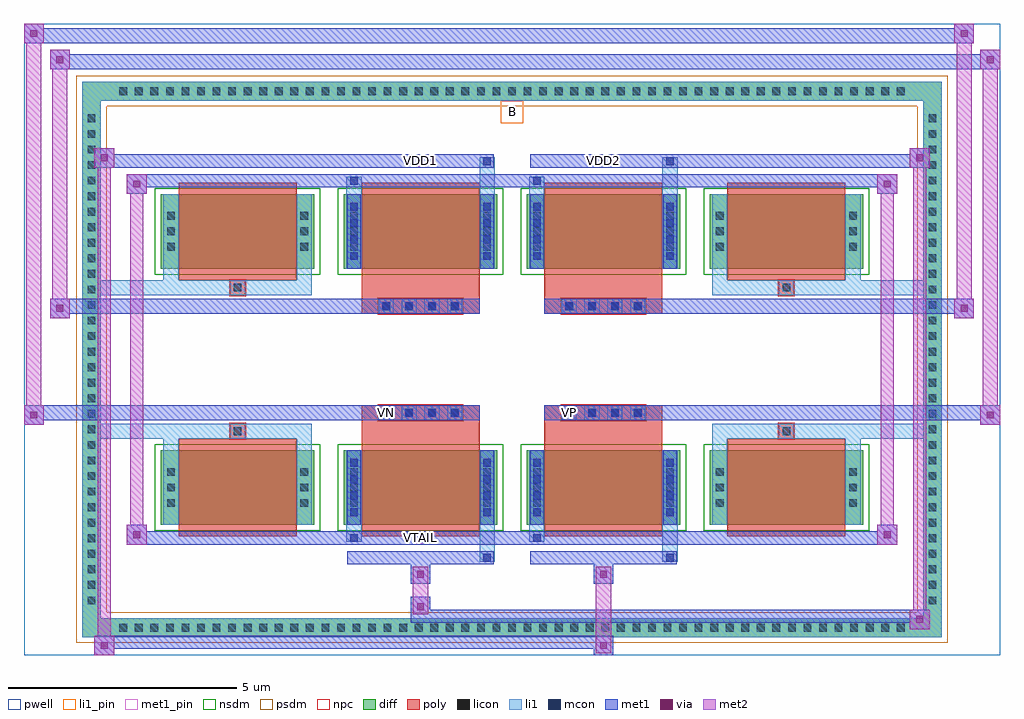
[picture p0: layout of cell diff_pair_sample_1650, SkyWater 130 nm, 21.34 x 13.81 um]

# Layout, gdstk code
import gdstk
lib = gdstk.Library(unit=1e-6, precision=5e-09)
def R(c, l, rs):  # rectangles x0, y0, x1, y1
    for r in rs: c.add(gdstk.rectangle(r[:2], r[2:], *l))
def A(c, l, x, y, w, h, nx, ny, dx, dy):  # array of equal rectangles
    R(c, l, [(x+i*dx, y+j*dy, x+i*dx+w, y+j*dy+h) for i in range(nx) for j in range(ny)])
def P(c, l, *ps):  # polygons
    for p in ps: c.add(gdstk.Polygon(p, *l))
pwell = (64, 44)
diff = (65, 20)
poly = (66, 20)
licon = (66, 44)
li1_pin = (67, 16)
li1 = (67, 20)
mcon = (67, 44)
met1_pin = (68, 16)
met1 = (68, 20)
via = (68, 44)
met2 = (69, 20)
nsdm = (93, 44)
psdm = (94, 20)
npc = (95, 20)

diff_pair_sample_1650 = lib.new_cell('diff_pair_sample_1650')
R(diff_pair_sample_1650, pwell, [(-10.67,-6.47,10.67,7.34), (-7.99,-4.66,-0.01,-0.8), (0.01,-4.66,7.99,-0.8), (-7.99,0.8,-0.01,4.66), (0.01,0.8,7.99,4.66)])
A(diff_pair_sample_1650, diff, -8.705, -6.07, 0.41, 0.41, 51, 2, 0.34, 11.73)
A(diff_pair_sample_1650, diff, -9.4, -5.475, 0.41, 0.41, 1, 32, 0, 0.34)
A(diff_pair_sample_1650, diff, 8.99, -5.475, 0.41, 0.41, 1, 32, 0, 0.34)
A(diff_pair_sample_1650, diff, -7.68, -3.615, 3.36, 1.63, 4, 2, 4, 5.6)
R(diff_pair_sample_1650, diff, [(-8.705,-6.07,8.705,-5.66), (-9.4,-5.475,-8.99,5.475), (8.99,-5.475,9.4,5.475), (-8.705,5.66,8.705,6.07)])
P(diff_pair_sample_1650, diff, [(9.4,6.07),(-9.4,6.07),(-9.4,-5.66),(-8.99,-5.66),(-8.99,5.66),(8.99,5.66),(8.99,-5.66),(-8.99,-5.66),(-9.4,-5.66),(-9.4,-6.07),(9.4,-6.07)])
A(diff_pair_sample_1650, poly, -7.29, -3.865, 2.58, 2.13, 4, 2, 4, 5.6)
A(diff_pair_sample_1650, poly, -2.915, -1.33, 0.33, 0.33, 4, 2, 0.5, 2.33)
A(diff_pair_sample_1650, poly, 1.085, -1.33, 0.33, 0.33, 4, 2, 0.5, 2.33)
R(diff_pair_sample_1650, poly, [(-6.165,-1.735,-5.835,-1.405), (-6.165,-1.735,-5.835,-1.405), (-3.29,-1.735,-0.71,-1.33), (0.71,-1.735,3.29,-1.33), (5.835,-1.735,6.165,-1.405), (5.835,-1.735,6.165,-1.405), (-3.29,-1.33,-0.71,-1), (0.71,-1.33,3.29,-1), (-3.29,1,-0.71,1.33), (0.71,1,3.29,1.33), (-3.29,1.33,-0.71,1.735), (0.71,1.33,3.29,1.735), (-6.165,1.405,-5.835,1.735), (-6.165,1.405,-5.835,1.735), (5.835,1.405,6.165,1.735), (5.835,1.405,6.165,1.735)])
A(diff_pair_sample_1650, licon, -8.585, -5.95, 0.17, 0.17, 51, 2, 0.34, 11.73)
A(diff_pair_sample_1650, licon, -9.28, -5.355, 0.17, 0.17, 1, 32, 0, 0.34)
A(diff_pair_sample_1650, licon, 9.11, -5.355, 0.17, 0.17, 1, 32, 0, 0.34)
A(diff_pair_sample_1650, licon, -7.54, -3.225, 0.17, 0.17, 1, 3, 0, 0.34)
A(diff_pair_sample_1650, licon, -4.63, -3.225, 0.17, 0.17, 1, 3, 0, 0.34)
A(diff_pair_sample_1650, licon, -3.54, -3.225, 0.17, 0.17, 1, 3, 0, 0.34)
A(diff_pair_sample_1650, licon, -0.63, -3.225, 0.17, 0.17, 1, 3, 0, 0.34)
A(diff_pair_sample_1650, licon, 0.46, -3.225, 0.17, 0.17, 1, 3, 0, 0.34)
A(diff_pair_sample_1650, licon, 3.37, -3.225, 0.17, 0.17, 1, 3, 0, 0.34)
A(diff_pair_sample_1650, licon, 4.46, -3.225, 0.17, 0.17, 1, 3, 0, 0.34)
A(diff_pair_sample_1650, licon, 7.37, -3.225, 0.17, 0.17, 1, 3, 0, 0.34)
A(diff_pair_sample_1650, licon, -2.835, -1.25, 0.17, 0.17, 4, 2, 0.5, 2.33)
A(diff_pair_sample_1650, licon, 1.165, -1.25, 0.17, 0.17, 4, 2, 0.5, 2.33)
A(diff_pair_sample_1650, licon, -7.54, 2.375, 0.17, 0.17, 1, 3, 0, 0.34)
A(diff_pair_sample_1650, licon, -4.63, 2.375, 0.17, 0.17, 1, 3, 0, 0.34)
A(diff_pair_sample_1650, licon, -3.54, 2.375, 0.17, 0.17, 1, 3, 0, 0.34)
A(diff_pair_sample_1650, licon, -0.63, 2.375, 0.17, 0.17, 1, 3, 0, 0.34)
A(diff_pair_sample_1650, licon, 0.46, 2.375, 0.17, 0.17, 1, 3, 0, 0.34)
A(diff_pair_sample_1650, licon, 3.37, 2.375, 0.17, 0.17, 1, 3, 0, 0.34)
A(diff_pair_sample_1650, licon, 4.46, 2.375, 0.17, 0.17, 1, 3, 0, 0.34)
A(diff_pair_sample_1650, licon, 7.37, 2.375, 0.17, 0.17, 1, 3, 0, 0.34)
R(diff_pair_sample_1650, licon, [(-6.085,-1.655,-5.915,-1.485), (5.915,-1.655,6.085,-1.485), (-6.085,1.485,-5.915,1.655), (5.915,1.485,6.085,1.655)])
R(diff_pair_sample_1650, li1_pin, [(-0.25,5.16,0.25,5.66)])
A(diff_pair_sample_1650, li1, -8.665, -6.03, 0.33, 0.33, 51, 2, 0.34, 11.73)
A(diff_pair_sample_1650, li1, -9.36, -5.435, 0.33, 0.33, 1, 32, 0, 0.34)
A(diff_pair_sample_1650, li1, 9.03, -5.435, 0.33, 0.33, 1, 32, 0, 0.34)
A(diff_pair_sample_1650, li1, -3.54, -3.425, 0.17, 0.17, 1, 4, 0, 0.36)
A(diff_pair_sample_1650, li1, -0.63, -3.425, 0.17, 0.17, 1, 4, 0, 0.36)
A(diff_pair_sample_1650, li1, 0.46, -3.425, 0.17, 0.17, 1, 4, 0, 0.36)
A(diff_pair_sample_1650, li1, 3.37, -3.425, 0.17, 0.17, 1, 4, 0, 0.36)
A(diff_pair_sample_1650, li1, -7.62, -3.305, 0.33, 0.33, 1, 3, 0, 0.34)
A(diff_pair_sample_1650, li1, -4.71, -3.305, 0.33, 0.33, 1, 3, 0, 0.34)
A(diff_pair_sample_1650, li1, -3.62, -3.305, 0.33, 0.33, 1, 3, 0, 0.34)
A(diff_pair_sample_1650, li1, -0.71, -3.305, 0.33, 0.33, 1, 3, 0, 0.34)
A(diff_pair_sample_1650, li1, 0.38, -3.305, 0.33, 0.33, 1, 3, 0, 0.34)
A(diff_pair_sample_1650, li1, 3.29, -3.305, 0.33, 0.33, 1, 3, 0, 0.34)
A(diff_pair_sample_1650, li1, 4.38, -3.305, 0.33, 0.33, 1, 3, 0, 0.34)
A(diff_pair_sample_1650, li1, 7.29, -3.305, 0.33, 0.33, 1, 3, 0, 0.34)
A(diff_pair_sample_1650, li1, -2.915, -1.33, 0.33, 0.33, 4, 2, 0.5, 2.33)
A(diff_pair_sample_1650, li1, 1.085, -1.33, 0.33, 0.33, 4, 2, 0.5, 2.33)
A(diff_pair_sample_1650, li1, -3.54, 2.175, 0.17, 0.17, 1, 4, 0, 0.36)
A(diff_pair_sample_1650, li1, -0.63, 2.175, 0.17, 0.17, 1, 4, 0, 0.36)
A(diff_pair_sample_1650, li1, 0.46, 2.175, 0.17, 0.17, 1, 4, 0, 0.36)
A(diff_pair_sample_1650, li1, 3.37, 2.175, 0.17, 0.17, 1, 4, 0, 0.36)
A(diff_pair_sample_1650, li1, -7.62, 2.295, 0.33, 0.33, 1, 3, 0, 0.34)
A(diff_pair_sample_1650, li1, -4.71, 2.295, 0.33, 0.33, 1, 3, 0, 0.34)
A(diff_pair_sample_1650, li1, -3.62, 2.295, 0.33, 0.33, 1, 3, 0, 0.34)
A(diff_pair_sample_1650, li1, -0.71, 2.295, 0.33, 0.33, 1, 3, 0, 0.34)
A(diff_pair_sample_1650, li1, 0.38, 2.295, 0.33, 0.33, 1, 3, 0, 0.34)
A(diff_pair_sample_1650, li1, 3.29, 2.295, 0.33, 0.33, 1, 3, 0, 0.34)
A(diff_pair_sample_1650, li1, 4.38, 2.295, 0.33, 0.33, 1, 3, 0, 0.34)
A(diff_pair_sample_1650, li1, 7.29, 2.295, 0.33, 0.33, 1, 3, 0, 0.34)
R(diff_pair_sample_1650, li1, [(-9.4,-6.07,-8.99,-5.66), (-9.4,-6.07,-8.99,-5.66), (-8.99,-6.07,8.99,-5.66), (8.99,-6.07,9.4,-5.66), (8.99,-6.07,9.4,-5.66), (-9.4,-5.66,-8.99,5.66), (8.99,-5.66,9.4,5.66), (-0.71,-4.42,-0.38,-3.615), (-0.63,-4.42,-0.46,-4.25), (3.29,-4.42,3.62,-3.615), (3.37,-4.42,3.54,-4.25), (-3.62,-3.99,-3.29,-3.615), (-3.54,-3.99,-3.37,-3.82), (0.38,-3.99,0.71,-3.615), (0.46,-3.99,0.63,-3.82), (-7.62,-3.615,-7.29,-1.985), (-4.71,-3.615,-4.38,-1.985), (-3.62,-3.615,-3.29,-1.985), (-0.71,-3.615,-0.38,-1.985), (0.38,-3.615,0.71,-1.985), (3.29,-3.615,3.62,-1.985), (4.38,-3.615,4.71,-1.985), (7.29,-3.615,7.62,-1.985), (-3.54,-3.425,-3.37,-2.175), (-0.63,-3.425,-0.46,-2.175), (0.46,-3.425,0.63,-2.175), (3.37,-3.425,3.54,-2.175), (-7.62,-1.985,-7.29,-1.405), (-4.71,-1.985,-4.38,-1.405), (4.38,-1.985,4.71,-1.405), (7.29,-1.985,7.62,-1.405), (-9.4,-1.735,-6.165,-1.405), (-7.62,-1.735,-6.165,-1.405), (-6.165,-1.735,-5.835,-1.405), (-5.835,-1.735,-4.38,-1.405), (4.38,-1.735,5.835,-1.405), (5.835,-1.735,6.165,-1.405), (5.835,-1.735,9.4,-1.405), (6.165,-1.735,7.62,-1.405), (-9.4,1.405,-6.165,1.735), (-7.62,1.405,-6.165,1.735), (-7.62,1.405,-7.29,1.985), (-6.165,1.405,-5.835,1.735), (-5.835,1.405,-4.38,1.735), (-4.71,1.405,-4.38,1.985), (4.38,1.405,5.835,1.735), (4.38,1.405,4.71,1.985), (5.835,1.405,6.165,1.735), (5.835,1.405,9.4,1.735), (6.165,1.405,7.62,1.735), (7.29,1.405,7.62,1.985), (-7.62,1.985,-7.29,3.615), (-4.71,1.985,-4.38,3.615), (-3.62,1.985,-3.29,3.615), (-0.71,1.985,-0.38,3.615), (0.38,1.985,0.71,3.615), (3.29,1.985,3.62,3.615), (4.38,1.985,4.71,3.615), (7.29,1.985,7.62,3.615), (-3.54,2.175,-3.37,3.425), (-0.63,2.175,-0.46,3.425), (0.46,2.175,0.63,3.425), (3.37,2.175,3.54,3.425), (-3.62,3.615,-3.29,3.99), (-0.71,3.615,-0.38,4.42), (0.38,3.615,0.71,3.99), (3.29,3.615,3.62,4.42), (-3.54,3.82,-3.37,3.99), (0.46,3.82,0.63,3.99), (-0.63,4.25,-0.46,4.42), (3.37,4.25,3.54,4.42), (-9.4,5.66,-8.99,6.07), (-9.4,5.66,-8.99,6.07), (-8.99,5.66,8.99,6.07), (8.99,5.66,9.4,6.07), (8.99,5.66,9.4,6.07)])
A(diff_pair_sample_1650, mcon, -3.54, -3.425, 0.17, 0.17, 1, 4, 0, 0.36)
A(diff_pair_sample_1650, mcon, -0.63, -3.425, 0.17, 0.17, 1, 4, 0, 0.36)
A(diff_pair_sample_1650, mcon, 0.46, -3.425, 0.17, 0.17, 1, 4, 0, 0.36)
A(diff_pair_sample_1650, mcon, 3.37, -3.425, 0.17, 0.17, 1, 4, 0, 0.36)
A(diff_pair_sample_1650, mcon, -2.835, -1.25, 0.17, 0.17, 4, 2, 0.5, 2.33)
A(diff_pair_sample_1650, mcon, 1.165, -1.25, 0.17, 0.17, 4, 2, 0.5, 2.33)
A(diff_pair_sample_1650, mcon, -3.54, 2.175, 0.17, 0.17, 1, 4, 0, 0.36)
A(diff_pair_sample_1650, mcon, -0.63, 2.175, 0.17, 0.17, 1, 4, 0, 0.36)
A(diff_pair_sample_1650, mcon, 0.46, 2.175, 0.17, 0.17, 1, 4, 0, 0.36)
A(diff_pair_sample_1650, mcon, 3.37, 2.175, 0.17, 0.17, 1, 4, 0, 0.36)
R(diff_pair_sample_1650, mcon, [(-0.63,-4.42,-0.46,-4.25), (3.37,-4.42,3.54,-4.25), (-3.54,-3.99,-3.37,-3.82), (0.46,-3.99,0.63,-3.82), (-3.54,3.82,-3.37,3.99), (0.46,3.82,0.63,3.99), (-0.63,4.25,-0.46,4.42), (3.37,4.25,3.54,4.42)])
R(diff_pair_sample_1650, met1_pin, [(-2.135,-4.03,-1.865,-3.76), (-2.885,-1.29,-2.615,-1.02), (1.115,-1.29,1.385,-1.02), (-2.135,4.21,-1.865,4.48), (1.865,4.21,2.135,4.48)])
A(diff_pair_sample_1650, met1, -3.6, -3.485, 0.29, 0.29, 1, 4, 0, 0.36)
A(diff_pair_sample_1650, met1, -0.69, -3.485, 0.29, 0.29, 1, 4, 0, 0.36)
A(diff_pair_sample_1650, met1, 0.4, -3.485, 0.29, 0.29, 1, 4, 0, 0.36)
A(diff_pair_sample_1650, met1, 3.31, -3.485, 0.29, 0.29, 1, 4, 0, 0.36)
A(diff_pair_sample_1650, met1, -2.895, -1.31, 0.29, 0.29, 4, 2, 0.5, 2.33)
A(diff_pair_sample_1650, met1, 1.105, -1.31, 0.29, 0.29, 4, 2, 0.5, 2.33)
A(diff_pair_sample_1650, met1, -3.6, 2.115, 0.29, 0.29, 1, 4, 0, 0.36)
A(diff_pair_sample_1650, met1, -0.69, 2.115, 0.29, 0.29, 1, 4, 0, 0.36)
A(diff_pair_sample_1650, met1, 0.4, 2.115, 0.29, 0.29, 1, 4, 0, 0.36)
A(diff_pair_sample_1650, met1, 3.31, 2.115, 0.29, 0.29, 1, 4, 0, 0.36)
R(diff_pair_sample_1650, met1, [(-9.13,-6.47,-8.7,-6.04), (1.785,-6.47,2.215,-6.04), (-9.13,-6.33,2.215,-6.04), (8.7,-5.9,9.13,-5.47), (-2.215,-5.76,9.13,-5.47), (-2.215,-5.62,-1.785,-5.19), (-2.215,-4.91,-1.785,-4.48), (1.785,-4.91,2.215,-4.48), (-3.6,-4.48,-0.4,-4.19), (-0.69,-4.48,-0.4,-4.19), (0.4,-4.48,3.6,-4.19), (3.31,-4.48,3.6,-4.19), (-8.42,-4.05,-7.99,-3.62), (-8.42,-4.05,-3.6,-3.76), (-3.6,-4.05,-3.31,-3.76), (-3.6,-4.05,-0.4,-3.76), (-0.4,-4.05,0.4,-3.76), (0.4,-4.05,0.69,-3.76), (0.4,-4.05,3.6,-3.76), (3.6,-4.05,8.42,-3.76), (7.99,-4.05,8.42,-3.62), (-3.6,-3.615,-3.31,-1.985), (-0.69,-3.615,-0.4,-1.985), (0.4,-3.615,0.69,-1.985), (3.31,-3.615,3.6,-1.985), (-10.67,-1.43,-10.24,-1), (10.24,-1.43,10.67,-1), (-10.67,-1.33,-0.71,-1), (-3.29,-1.33,-0.71,-1), (0.71,-1.33,3.29,-1), (0.71,-1.33,10.67,-1), (-10.1,0.9,-9.67,1.33), (9.67,0.9,10.1,1.33), (-10.1,1,-3.29,1.33), (-3.29,1,-0.71,1.33), (0.71,1,3.29,1.33), (3.29,1,10.1,1.33), (-3.6,1.985,-3.31,3.615), (-0.69,1.985,-0.4,3.615), (0.4,1.985,0.69,3.615), (3.31,1.985,3.6,3.615), (-8.42,3.62,-7.99,4.05), (7.99,3.62,8.42,4.05), (-8.42,3.76,-3.6,4.05), (-3.6,3.76,-3.31,4.05), (-3.6,3.76,-0.4,4.05), (-0.4,3.76,0.4,4.05), (0.4,3.76,0.69,4.05), (0.4,3.76,3.6,4.05), (3.6,3.76,8.42,4.05), (-9.13,4.19,-8.7,4.62), (-9.13,4.19,-3.6,4.48), (-3.6,4.19,-0.4,4.48), (-0.69,4.19,-0.4,4.48), (0.4,4.19,3.6,4.48), (3.31,4.19,3.6,4.48), (3.6,4.19,9.13,4.48), (8.7,4.19,9.13,4.62), (-10.1,6.34,-9.67,6.77), (-10.1,6.34,-7.99,6.67), (-7.99,6.34,7.99,6.67), (7.99,6.34,10.67,6.67), (10.24,6.34,10.67,6.77), (-10.67,6.91,-10.24,7.34), (-10.67,6.91,-7.99,7.24), (-7.99,6.91,7.99,7.24), (7.99,6.91,10.1,7.24), (9.67,6.91,10.1,7.34)])
R(diff_pair_sample_1650, via, [(-8.99,-6.33,-8.84,-6.18), (1.925,-6.33,2.075,-6.18), (8.84,-5.76,8.99,-5.61), (-2.075,-5.48,-1.925,-5.33), (-2.075,-4.77,-1.925,-4.62), (1.925,-4.77,2.075,-4.62), (-8.28,-3.91,-8.13,-3.76), (8.13,-3.91,8.28,-3.76), (-10.53,-1.29,-10.38,-1.14), (10.38,-1.29,10.53,-1.14), (-9.96,1.04,-9.81,1.19), (9.81,1.04,9.96,1.19), (-8.28,3.76,-8.13,3.91), (8.13,3.76,8.28,3.91), (-8.99,4.33,-8.84,4.48), (8.84,4.33,8.99,4.48), (-9.96,6.48,-9.81,6.63), (10.38,6.48,10.53,6.63), (-10.53,7.05,-10.38,7.2), (9.81,7.05,9.96,7.2)])
R(diff_pair_sample_1650, met2, [(-9.13,-6.47,-8.7,-6.04), (-9.06,-6.47,-8.77,4.62), (-8.77,-6.47,-8.7,-6.04), (-9.08,-6.42,-8.75,-6.09), (1.835,-6.42,2.165,-6.09), (1.835,-6.09,2.165,-4.86), (8.7,-5.9,9.13,-5.47), (8.77,-5.9,9.06,4.62), (9.06,-5.9,9.13,-5.47), (8.75,-5.85,9.08,-5.52), (-2.165,-5.57,-1.835,-5.24), (-2.165,-5.24,-1.835,-4.86), (-2.165,-4.86,-1.835,-4.53), (1.835,-4.86,2.165,-4.53), (-8.42,-4.05,-7.99,-3.62), (-8.35,-4.05,-8.06,4.05), (-8.06,-4.05,-7.99,-3.62), (7.99,-4.05,8.42,-3.62), (8.06,-4.05,8.35,4.05), (8.35,-4.05,8.42,-3.62), (-8.37,-4,-8.04,-3.67), (8.04,-4,8.37,-3.67), (-10.67,-1.43,-10.24,-1), (-10.62,-1.43,-10.29,7.34), (-10.29,-1.43,-10.24,-1), (10.24,-1.43,10.67,-1), (10.29,-1.43,10.62,6.77), (10.62,-1.43,10.67,-1), (-10.62,-1.38,-10.29,-1.05), (10.29,-1.38,10.62,-1.05), (-10.1,0.9,-9.67,1.33), (-10.05,0.9,-9.72,6.77), (-9.72,0.9,-9.67,1.33), (9.67,0.9,10.1,1.33), (9.72,0.9,10.05,7.34), (10.05,0.9,10.1,1.33), (-10.05,0.95,-9.72,1.28), (9.72,0.95,10.05,1.28), (-8.42,3.62,-7.99,4.05), (-8.06,3.62,-7.99,4.05), (7.99,3.62,8.42,4.05), (8.35,3.62,8.42,4.05), (-8.37,3.67,-8.04,4), (8.04,3.67,8.37,4), (-9.13,4.19,-8.7,4.62), (-8.77,4.19,-8.7,4.62), (8.7,4.19,9.13,4.62), (9.06,4.19,9.13,4.62), (-9.08,4.24,-8.75,4.57), (8.75,4.24,9.08,4.57), (-10.1,6.34,-9.67,6.77), (-9.72,6.34,-9.67,6.77), (10.24,6.34,10.67,6.77), (10.62,6.34,10.67,6.77), (-10.05,6.39,-9.72,6.72), (10.29,6.39,10.62,6.72), (-10.67,6.91,-10.24,7.34), (-10.29,6.91,-10.24,7.34), (9.67,6.91,10.1,7.34), (10.05,6.91,10.1,7.34), (-10.62,6.96,-10.29,7.29), (9.72,6.96,10.05,7.29)])
A(diff_pair_sample_1650, nsdm, -7.81, -3.745, 3.62, 1.89, 4, 2, 4, 5.6)
P(diff_pair_sample_1650, psdm, [(9.53,6.2),(-9.53,6.2),(-9.53,-5.53),(-8.86,-5.53),(-8.86,5.53),(8.86,5.53),(8.86,-5.53),(-8.86,-5.53),(-9.53,-5.53),(-9.53,-6.2),(9.53,-6.2)])
A(diff_pair_sample_1650, npc, -2.935, -1.35, 0.37, 0.37, 4, 2, 0.5, 2.33)
A(diff_pair_sample_1650, npc, 1.065, -1.35, 0.37, 0.37, 4, 2, 0.5, 2.33)
R(diff_pair_sample_1650, npc, [(-6.185,-1.755,-5.815,-1.385), (5.815,-1.755,6.185,-1.385), (-2.935,-1.35,-2.065,-0.98), (-2.935,-1.35,-2.065,-0.98), (-2.435,-1.35,-1.565,-0.98), (-2.435,-1.35,-1.565,-0.98), (-1.935,-1.35,-1.065,-0.98), (-1.935,-1.35,-1.065,-0.98), (1.065,-1.35,1.935,-0.98), (1.065,-1.35,1.935,-0.98), (1.565,-1.35,2.435,-0.98), (1.565,-1.35,2.435,-0.98), (2.065,-1.35,2.935,-0.98), (2.065,-1.35,2.935,-0.98), (-2.935,0.98,-2.065,1.35), (-2.935,0.98,-2.065,1.35), (-2.435,0.98,-1.565,1.35), (-2.435,0.98,-1.565,1.35), (-1.935,0.98,-1.065,1.35), (-1.935,0.98,-1.065,1.35), (1.065,0.98,1.935,1.35), (1.065,0.98,1.935,1.35), (1.565,0.98,2.435,1.35), (1.565,0.98,2.435,1.35), (2.065,0.98,2.935,1.35), (2.065,0.98,2.935,1.35), (-6.185,1.385,-5.815,1.755), (5.815,1.385,6.185,1.755)])
diff_pair_sample_1650.add(gdstk.Label('VTAIL', (-2,-3.895), layer=68, texttype=5))
diff_pair_sample_1650.add(gdstk.Label('VN', (-2.75,-1.155), layer=68, texttype=5))
diff_pair_sample_1650.add(gdstk.Label('VP', (1.25,-1.155), layer=68, texttype=5))
diff_pair_sample_1650.add(gdstk.Label('B', (0,5.41), layer=67, texttype=5))
diff_pair_sample_1650.add(gdstk.Label('VDD2', (2,4.345), layer=68, texttype=5))
diff_pair_sample_1650.add(gdstk.Label('VDD1', (-2,4.345), layer=68, texttype=5))

lib.write_gds('diff_pair_sample_1650.gds')
